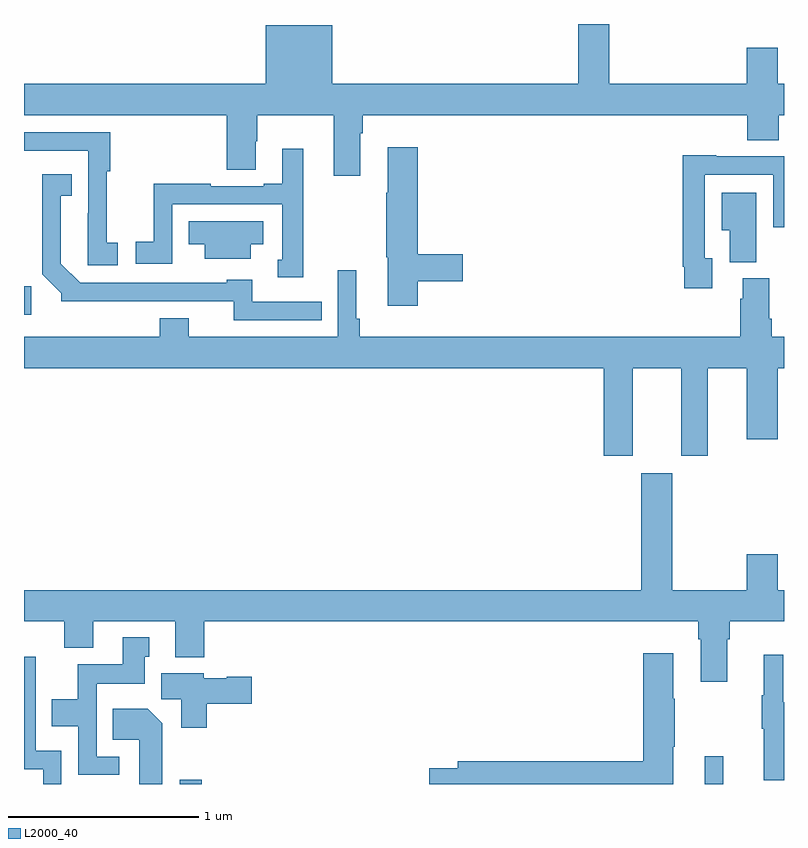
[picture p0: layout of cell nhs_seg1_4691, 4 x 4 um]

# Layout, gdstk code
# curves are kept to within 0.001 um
import gdstk
lib = gdstk.Library(unit=1e-6, precision=1e-09)
def R(c, l, rs):  # rectangles x0, y0, x1, y1
    for r in rs: c.add(gdstk.rectangle(r[:2], r[2:], *l))
def P(c, l, *ps):  # polygons
    for p in ps: c.add(gdstk.Polygon(p, *l))
L2000_40 = (2000, 40)

nhs_seg1_4691 = lib.new_cell('nhs_seg1_4691')
R(nhs_seg1_4691, L2000_40, [(365.82,560.199,365.936,560.221), (368.582,560.199,368.679,560.344), (365,562.668,365.039,562.819)])
P(nhs_seg1_4691, L2000_40, [(366.272,564.193),(366.272,563.884),(365,563.884),(365,563.72),(366.068,563.72),(366.068,563.431),(366.22,563.431),(366.22,563.582),(366.228,563.582),(366.228,563.72),(366.629,563.72),(366.629,563.4),(366.769,563.4),(366.769,563.624),(366.782,563.624),(366.782,563.72),(368.807,563.72),(368.807,563.587),(368.972,563.587),(368.972,563.72),(369,563.72),(369,563.884),(368.968,563.884),(368.968,564.073),(368.804,564.073),(368.804,563.884),(368.08,563.884),(368.08,564.199),(367.916,564.199),(367.916,563.884),(366.622,563.884),(366.622,564.193)],
  [(365.494,563.049),(365.436,563.049),(365.436,563.425),(365.453,563.425),(365.453,563.628),(365,563.628),(365,563.532),(365.337,563.532),(365.337,563.204),(365.336,563.204),(365.336,562.929),(365.494,562.929)],
  [(367.073,562.846),(367.309,562.846),(367.309,562.988),(367.073,562.988),(367.073,563.551),(366.914,563.551),(366.914,563.312),(366.907,563.312),(366.907,562.971),(366.914,562.971),(366.914,562.716),(367.073,562.716)],
  [(366.469,563.542),(366.359,563.542),(366.359,563.359),(366.263,563.359),(366.263,563.346),(365.984,563.346),(365.984,563.359),(365.683,563.359),(365.683,563.054),(365.589,563.054),(365.589,562.938),(365.781,562.938),(365.781,563.25),(366.36,563.25),(366.36,562.959),(366.335,562.959),(366.335,562.865),(366.469,562.865)],
  [(368.623,562.965),(368.583,562.965),(368.583,563.406),(368.943,563.406),(368.943,563.13),(369,563.13),(369,563.502),(368.643,563.502),(368.643,563.509),(368.467,563.509),(368.467,562.921),(368.475,562.921),(368.475,562.809),(368.623,562.809)],
  [(366.566,562.737),(366.202,562.737),(366.202,562.852),(366.066,562.852),(366.066,562.836),(365.295,562.836),(365.194,562.937),(365.194,563.294),(365.252,563.294),(365.252,563.407),(365.097,563.407),(365.097,562.882),(365.196,562.783),(365.196,562.739),(366.103,562.74),(366.103,562.641),(366.566,562.641)],
  [(368.854,563.311),(368.672,563.311),(368.672,563.114),(368.714,563.114),(368.714,562.945),(368.854,562.945)],
  [(366.193,563.039),(366.259,563.039),(366.259,563.161),(365.866,563.161),(365.866,563.039),(365.951,563.039),(365.951,562.964),(366.193,562.964)],
  [(368.203,562.388),(368.459,562.388),(368.459,561.927),(368.599,561.927),(368.599,562.388),(368.804,562.388),(368.804,562.014),(368.968,562.014),(368.968,562.388),(369,562.388),(369,562.552),(368.936,562.552),(368.936,562.648),(368.923,562.648),(368.923,562.86),(368.783,562.86),(368.783,562.754),(368.771,562.754),(368.771,562.552),(366.767,562.552),(366.767,562.648),(366.748,562.648),(366.748,562.903),(366.651,562.903),(366.651,562.552),(365.866,562.552),(365.866,562.651),(365.714,562.651),(365.714,562.552),(365,562.552),(365,562.388),(368.051,562.388),(368.051,561.927),(368.203,561.927)],
  [(368.701,560.96),(368.714,560.96),(368.714,561.056),(369,561.056),(369,561.22),(368.968,561.22),(368.968,561.409),(368.804,561.409),(368.804,561.22),(368.413,561.22),(368.413,561.835),(368.249,561.835),(368.249,561.22),(365,561.22),(365,561.056),(365.213,561.056),(365.213,560.915),(365.365,560.915),(365.365,561.056),(365.795,561.056),(365.795,560.867),(365.948,560.867),(365.948,561.056),(368.549,561.056),(368.549,560.96),(368.561,560.96),(368.561,560.736),(368.701,560.736)],
  [(365.5,560.343),(365.382,560.343),(365.382,560.726),(365.635,560.726),(365.635,560.868),(365.659,560.868),(365.659,560.971),(365.519,560.971),(365.519,560.83),(365.284,560.83),(365.284,560.644),(365.147,560.644),(365.147,560.504),(365.286,560.504),(365.286,560.247),(365.5,560.247)],
  [(368.416,560.395),(368.424,560.395),(368.424,560.648),(368.416,560.648),(368.416,560.887),(368.258,560.887),(368.258,560.318),(367.283,560.318),(367.283,560.282),(367.134,560.282),(367.134,560.199),(368.416,560.199)],
  [(369,560.628),(368.996,560.628),(368.996,560.878),(368.894,560.878),(368.894,560.665),(368.883,560.665),(368.883,560.491),(368.894,560.491),(368.894,560.22),(369,560.22)],
  [(365.196,560.374),(365.062,560.374),(365.062,560.869),(365,560.869),(365,560.277),(365.1,560.277),(365.1,560.199),(365.196,560.199)],
  [(365.963,560.621),(366.199,560.621),(366.199,560.763),(366.066,560.763),(366.066,560.755),(365.946,560.755),(365.946,560.782),(365.723,560.782),(365.723,560.644),(365.828,560.644),(365.828,560.496),(365.963,560.496)],
  [(365.728,560.518),(365.65,560.596),(365.467,560.596),(365.467,560.432),(365.606,560.432),(365.606,560.199),(365.728,560.199)])

lib.write_gds('nhs_seg1_4691.gds')
